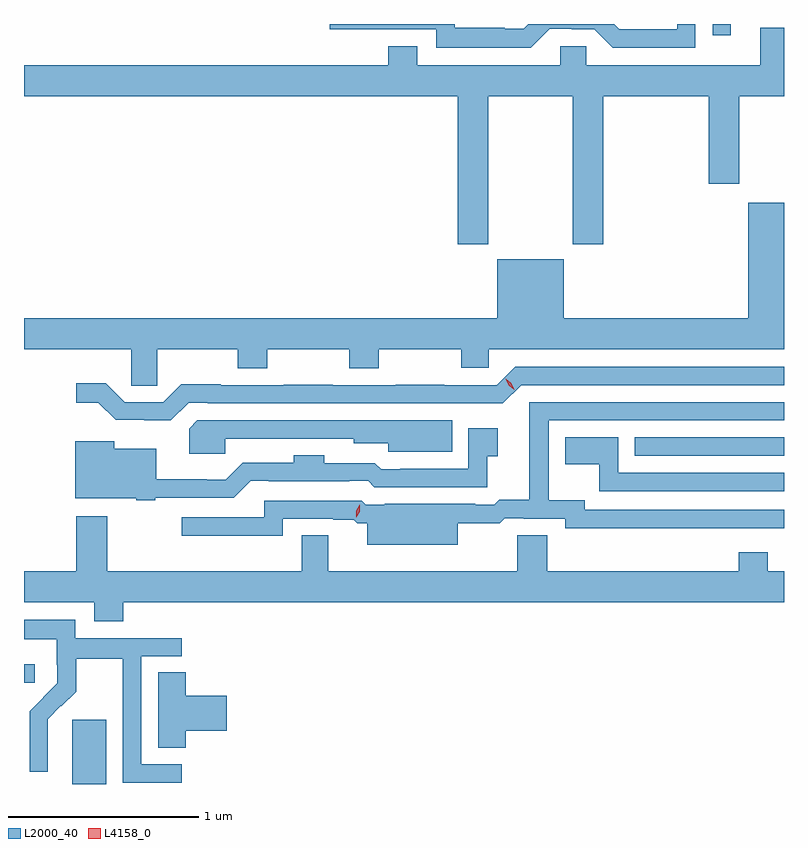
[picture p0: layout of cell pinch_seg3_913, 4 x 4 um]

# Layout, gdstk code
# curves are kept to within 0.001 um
import gdstk
lib = gdstk.Library(unit=1e-6, precision=1e-09)
def R(c, l, rs):  # rectangles x0, y0, x1, y1
    for r in rs: c.add(gdstk.rectangle(r[:2], r[2:], *l))
def P(c, l, *ps):  # polygons
    for p in ps: c.add(gdstk.Polygon(p, *l))
L2000_40 = (2000, 40)
L4158_0 = (4158, 0)

pinch_seg3_913 = lib.new_cell('pinch_seg3_913')
R(pinch_seg3_913, L2000_40, [(771.848,667.992,772.027,668.331), (771.595,668.526,771.652,668.623), (774.81,669.72,775.595,669.816), (775.219,671.934,775.315,671.992)])
P(pinch_seg3_913, L2000_40, [(774.363,671.967),(774.479,671.967),(774.479,671.964),(774.597,671.964),(774.693,671.868),(775.128,671.868),(775.128,671.992),(775.032,671.992),(775.032,671.964),(774.729,671.964),(774.701,671.992),(774.25,671.992),(774.225,671.967),(774.125,671.967),(774.125,671.971),(773.862,671.971),(773.862,671.992),(773.205,671.992),(773.205,671.964),(773.766,671.964),(773.766,671.867),(774.263,671.867)],
  [(774.039,671.612),(774.484,671.612),(774.484,670.833),(774.644,670.833),(774.644,671.612),(775.199,671.612),(775.199,671.151),(775.359,671.151),(775.359,671.612),(775.595,671.612),(775.595,671.971),(775.469,671.971),(775.469,671.776),(774.555,671.776),(774.555,671.874),(774.417,671.874),(774.417,671.776),(773.665,671.776),(773.665,671.875),(773.513,671.875),(773.513,671.776),(771.595,671.776),(771.595,671.612),(773.879,671.612),(773.879,670.833),(774.039,670.833)],
  [(772.295,670.28),(772.72,670.28),(772.72,670.181),(772.875,670.181),(772.875,670.28),(773.308,670.28),(773.308,670.181),(773.463,670.181),(773.463,670.28),(773.896,670.28),(773.896,670.182),(774.042,670.182),(774.042,670.28),(775.595,670.28),(775.595,671.05),(775.406,671.05),(775.406,670.444),(774.436,670.444),(774.436,670.753),(774.086,670.753),(774.086,670.444),(771.595,670.444),(771.595,670.28),(772.159,670.28),(772.159,670.089),(772.295,670.089)],
  [(772.461,669.999),(772.561,669.999),(772.561,669.996),(774.116,669.995),(774.213,670.092),(775.595,670.092),(775.595,670.188),(774.18,670.188),(774.084,670.092),(773.807,670.092),(773.807,670.094),(773.551,670.094),(773.551,670.092),(773.219,670.092),(773.219,670.094),(772.963,670.094),(772.963,670.092),(772.631,670.092),(772.631,670.096),(772.423,670.096),(772.329,670.002),(772.125,670.002),(772.025,670.102),(771.87,670.102),(771.87,669.999),(771.987,669.999),(772.078,669.908),(772.227,669.908),(772.227,669.906),(772.368,669.906)],
  [(773.878,669.364),(774.1,669.364),(774.126,669.39),(774.226,669.39),(774.226,669.387),(774.443,669.387),(774.443,669.337),(775.274,669.337),(775.274,669.339),(775.595,669.339),(775.595,669.435),(774.547,669.435),(774.547,669.485),(774.358,669.485),(774.358,669.906),(775.595,669.906),(775.595,670.002),(774.254,670.002),(774.254,669.488),(774.095,669.488),(774.069,669.462),(773.969,669.462),(773.969,669.466),(773.494,669.466),(773.494,669.462),(773.394,669.462),(773.373,669.483),(772.86,669.483),(772.86,669.396),(772.425,669.396),(772.425,669.299),(772.956,669.299),(772.956,669.387),(773.222,669.387),(773.222,669.383),(773.33,669.383),(773.348,669.364),(773.402,669.364),(773.402,669.251),(773.878,669.251)],
  [(772.653,669.81),(773.331,669.81),(773.331,669.785),(773.513,669.785),(773.513,669.74),(773.849,669.74),(773.849,669.907),(772.506,669.906),(772.464,669.863),(772.464,669.729),(772.653,669.729)],
  [(772.287,669.498),(772.698,669.498),(772.788,669.588),(772.882,669.588),(772.882,669.585),(773.306,669.585),(773.306,669.588),(773.406,669.588),(773.439,669.555),(774.033,669.555),(774.033,669.716),(774.088,669.716),(774.088,669.865),(773.934,669.865),(773.934,669.651),(773.575,669.651),(773.575,669.648),(773.475,669.648),(773.442,669.681),(773.174,669.681),(773.174,669.721),(773.014,669.721),(773.014,669.682),(772.747,669.682),(772.658,669.593),(772.556,669.593),(772.556,669.595),(772.291,669.595),(772.291,669.757),(772.069,669.757),(772.069,669.796),(771.866,669.796),(771.866,669.497),(772.187,669.497),(772.187,669.486),(772.287,669.486)],
  [(775.595,669.63),(774.723,669.63),(774.723,669.817),(774.443,669.817),(774.443,669.674),(774.622,669.674),(774.622,669.534),(775.595,669.534)],
  [(772.118,668.948),(775.595,668.948),(775.595,669.112),(775.51,669.112),(775.51,669.211),(775.358,669.211),(775.358,669.112),(774.35,669.112),(774.35,669.302),(774.19,669.302),(774.19,669.112),(773.197,669.112),(773.197,669.302),(773.057,669.302),(773.057,669.112),(772.034,669.112),(772.034,669.4),(771.869,669.4),(771.869,669.112),(771.595,669.112),(771.595,668.948),(771.965,668.948),(771.965,668.849),(772.118,668.849)],
  [(772.426,668.097),(772.212,668.097),(772.212,668.664),(772.426,668.664),(772.426,668.76),(771.864,668.76),(771.864,668.857),(771.595,668.857),(771.595,668.753),(771.768,668.753),(771.768,668.619),(771.77,668.619),(771.77,668.522),(771.624,668.374),(771.624,668.056),(771.72,668.056),(771.719,668.333),(771.789,668.403),(771.792,668.4),(771.869,668.477),(771.869,668.652),(772.114,668.652),(772.114,668.428),(772.116,668.428),(772.116,667.999),(772.426,667.999)],
  [(772.445,668.273),(772.663,668.273),(772.663,668.456),(772.445,668.456),(772.445,668.579),(772.301,668.579),(772.301,668.182),(772.445,668.182)])
P(pinch_seg3_913, L4158_0, [(773.344,669.395),(773.344,669.395),(773.343,669.431),(773.361,669.462),(773.362,669.462),(773.362,669.462),(773.362,669.426),(773.344,669.395)],
  [(774.176,670.068),(774.145,670.09),(774.13,670.123),(774.13,670.124),(774.13,670.124),(774.16,670.102),(774.176,670.068),(774.176,670.068)])

lib.write_gds('pinch_seg3_913.gds')
